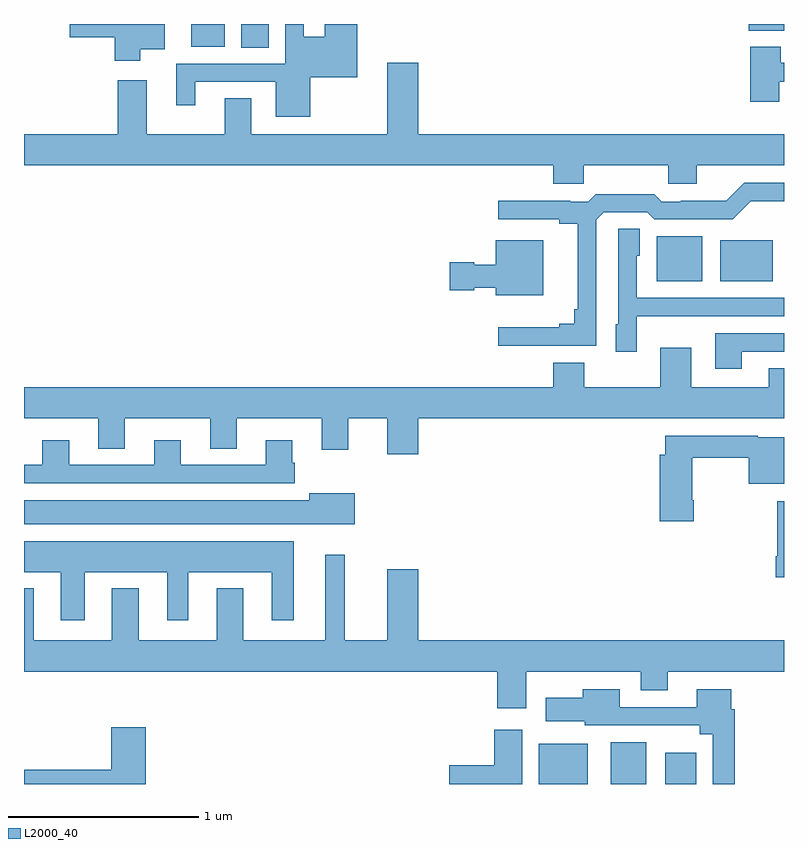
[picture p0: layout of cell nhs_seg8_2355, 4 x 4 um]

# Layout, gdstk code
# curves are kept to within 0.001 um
import gdstk
lib = gdstk.Library(unit=1e-6, precision=1e-09)
def R(c, l, rs):  # rectangles x0, y0, x1, y1
    for r in rs: c.add(gdstk.rectangle(r[:2], r[2:], *l))
def P(c, l, *ps):  # polygons
    for p in ps: c.add(gdstk.Polygon(p, *l))
L2000_40 = (2000, 40)

nhs_seg8_2355 = lib.new_cell('nhs_seg8_2355')
R(nhs_seg8_2355, L2000_40, [(261.71,1123.9,261.967,1124.113), (262.088,1123.9,262.276,1124.119), (262.376,1123.9,262.537,1124.065), (262.331,1126.547,262.57,1126.783), (262.664,1126.547,262.942,1126.762), (260.144,1127.776,260.287,1127.9), (259.88,1127.78,260.056,1127.9), (262.814,1127.864,263,1127.9)])
P(nhs_seg8_2355, L2000_40, [(260.506,1127.621),(260.753,1127.621),(260.753,1127.9),(260.582,1127.9),(260.582,1127.833),(260.472,1127.833),(260.472,1127.9),(260.376,1127.9),(260.376,1127.691),(259.802,1127.691),(259.802,1127.472),(259.9,1127.472),(259.9,1127.595),(260.324,1127.595),(260.324,1127.411),(260.506,1127.411)],
  [(259.612,1127.768),(259.741,1127.768),(259.741,1127.9),(259.242,1127.9),(259.242,1127.831),(259.478,1127.831),(259.478,1127.706),(259.612,1127.706)],
  [(262.975,1127.595),(263,1127.595),(263,1127.695),(262.983,1127.695),(262.983,1127.779),(262.823,1127.779),(262.823,1127.49),(262.975,1127.49)],
  [(261.945,1127.156),(262.39,1127.156),(262.39,1127.058),(262.54,1127.058),(262.54,1127.156),(263,1127.156),(263,1127.32),(261.076,1127.32),(261.076,1127.695),(260.912,1127.695),(260.912,1127.32),(260.197,1127.32),(260.197,1127.51),(260.057,1127.51),(260.057,1127.32),(259.645,1127.32),(259.645,1127.605),(259.493,1127.605),(259.493,1127.32),(259,1127.32),(259,1127.156),(261.785,1127.156),(261.785,1127.058),(261.945,1127.058)],
  [(262.011,1126.869),(262.05,1126.908),(262.281,1126.908),(262.317,1126.872),(262.731,1126.872),(262.826,1126.967),(263,1126.968),(263,1127.064),(262.791,1127.064),(262.697,1126.97),(262.456,1126.97),(262.456,1126.965),(262.356,1126.965),(262.317,1127.005),(262.009,1127.005),(261.969,1126.965),(261.875,1126.965),(261.875,1126.97),(261.495,1126.97),(261.495,1126.872),(261.818,1126.872),(261.818,1126.85),(261.914,1126.85),(261.914,1126.399),(261.895,1126.399),(261.895,1126.322),(261.818,1126.322),(261.818,1126.303),(261.495,1126.303),(261.495,1126.206),(262.011,1126.206)],
  [(262.224,1126.361),(262.541,1126.361),(262.541,1126.362),(263,1126.362),(263,1126.458),(262.224,1126.458),(262.224,1126.68),(262.24,1126.68),(262.24,1126.823),(262.128,1126.823),(262.128,1126.32),(262.115,1126.32),(262.115,1126.176),(262.224,1126.176)],
  [(261.733,1126.762),(261.482,1126.762),(261.482,1126.633),(261.369,1126.633),(261.369,1126.646),(261.24,1126.646),(261.24,1126.499),(261.369,1126.499),(261.369,1126.511),(261.482,1126.511),(261.482,1126.472),(261.733,1126.472)],
  [(262.777,1126.176),(263,1126.176),(263,1126.272),(262.637,1126.272),(262.637,1126.086),(262.777,1126.086)],
  [(261.076,1125.824),(263,1125.824),(263,1126.087),(262.919,1126.087),(262.919,1125.988),(262.513,1125.988),(262.513,1126.195),(262.349,1126.195),(262.349,1125.988),(261.949,1125.988),(261.949,1126.117),(261.785,1126.117),(261.785,1125.988),(259,1125.988),(259,1125.824),(259.391,1125.824),(259.391,1125.664),(259.531,1125.664),(259.531,1125.824),(259.979,1125.824),(259.979,1125.664),(260.119,1125.664),(260.119,1125.824),(260.567,1125.824),(260.567,1125.66),(260.707,1125.66),(260.707,1125.824),(260.912,1125.824),(260.912,1125.636),(261.076,1125.636)],
  [(262.524,1125.394),(262.516,1125.394),(262.516,1125.616),(262.814,1125.616),(262.814,1125.479),(263,1125.479),(263,1125.724),(262.863,1125.724),(262.863,1125.732),(262.376,1125.732),(262.376,1125.634),(262.346,1125.634),(262.346,1125.282),(262.524,1125.282)],
  [(260.426,1125.591),(260.413,1125.591),(260.413,1125.709),(260.273,1125.709),(260.273,1125.579),(259.825,1125.579),(259.825,1125.709),(259.685,1125.709),(259.685,1125.579),(259.237,1125.579),(259.237,1125.709),(259.097,1125.709),(259.097,1125.579),(259,1125.579),(259,1125.483),(260.426,1125.483)],
  [(260.74,1125.43),(260.501,1125.43),(260.501,1125.394),(259,1125.394),(259,1125.266),(260.74,1125.266)],
  [(263,1125.388),(262.965,1125.388),(262.965,1125.1),(262.957,1125.1),(262.957,1124.988),(263,1124.988)],
  [(259.321,1125.014),(259.754,1125.014),(259.754,1124.763),(259.864,1124.763),(259.864,1125.014),(260.303,1125.014),(260.303,1124.763),(260.419,1124.763),(260.419,1125.178),(259,1125.178),(259,1125.014),(259.193,1125.014),(259.193,1124.763),(259.321,1124.763)],
  [(261.643,1124.492),(262.247,1124.492),(262.247,1124.393),(262.387,1124.393),(262.387,1124.492),(263,1124.492),(263,1124.656),(261.076,1124.656),(261.076,1125.031),(260.912,1125.031),(260.912,1124.656),(260.689,1124.656),(260.689,1125.106),(260.585,1125.106),(260.585,1124.656),(260.155,1124.656),(260.155,1124.929),(260.015,1124.929),(260.015,1124.656),(259.603,1124.656),(259.603,1124.929),(259.463,1124.929),(259.463,1124.656),(259.051,1124.656),(259.051,1124.929),(259,1124.929),(259,1124.492),(261.491,1124.492),(261.491,1124.298),(261.643,1124.298)],
  [(262.742,1124.294),(262.723,1124.294),(262.723,1124.398),(262.541,1124.398),(262.541,1124.304),(262.135,1124.304),(262.135,1124.398),(261.94,1124.398),(261.94,1124.353),(261.747,1124.353),(261.747,1124.231),(261.951,1124.231),(261.951,1124.208),(262.556,1124.208),(262.556,1124.162),(262.626,1124.162),(262.626,1123.9),(262.742,1123.9)],
  [(259.642,1124.2),(259.46,1124.2),(259.46,1123.976),(259,1123.976),(259,1123.9),(259.642,1123.9)],
  [(261.622,1124.185),(261.476,1124.185),(261.476,1124),(261.237,1124),(261.237,1123.9),(261.622,1123.9)])

lib.write_gds('nhs_seg8_2355.gds')
